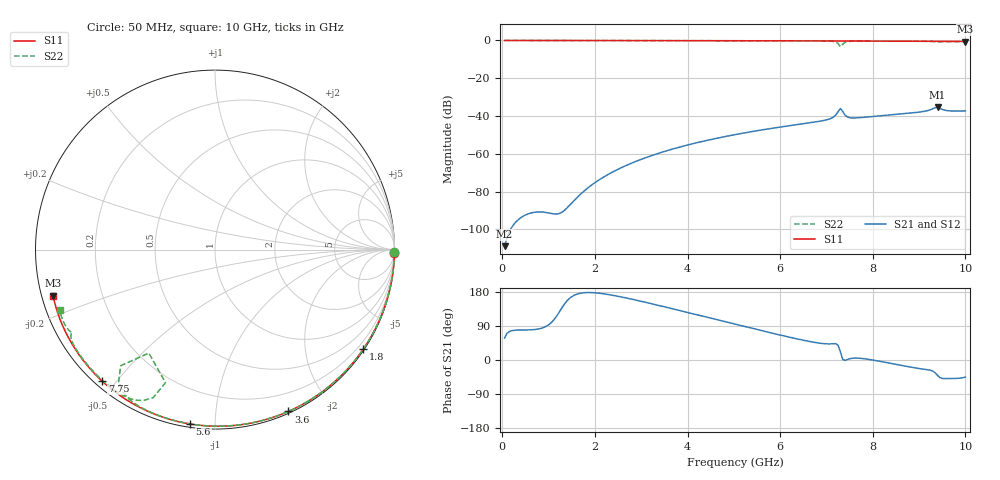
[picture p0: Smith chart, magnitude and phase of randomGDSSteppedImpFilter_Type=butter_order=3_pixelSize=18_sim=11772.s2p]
! freq	dB(S11)	phase(S11)	dB(S12)	phase(S12)
!  dB(S21)	phase(S21)	dB(S22)	phase(S22)
!S-par simulation data
#  GHz  S  DB  R 50
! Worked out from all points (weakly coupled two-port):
!   200 points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, 50 MHz to 10 GHz, reference 50 ohm
!   highest |S21| = -35.45 dB at 9.4 GHz (marker M1); lowest = -108.9 dB at 50 MHz (marker M2)
!   lowest |S11| = -0.6 dB at 10 GHz (marker M3), VSWR 31.47, Z = 1.62 - j6.96 ohm
!   |S11| at or under -10 dB: nowhere
!   |S22| runs from -3.3 to 0.0 dB; largest |S21 - S12| = 0
!   S11 on the Smith chart (normalised r, x): 50 MHz: open; 1.8 GHz: 0.03, -3.30; 3.6 GHz: 0.02, -1.55; 5.6 GHz: 0.02, -0.87; 7.75 GHz: 0.02, -0.46; 10 GHz: 0.03, -0.14
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0.05  -0.00 -1.0  -108.87 58.1  -108.87 58.1  -0.00 -0.9
1.75  -0.04 -32.8  -80.03 177.3  -80.03 177.3  -0.04 -31.6
1.8  -0.04 -33.8  -78.99 177.8  -78.99 177.8  -0.04 -32.5
2.45  -0.06 -45.5  -68.77 169.3  -68.77 169.3  -0.06 -43.8
3.4  -0.08 -62.2  -59.52 143.4  -59.52 143.4  -0.08 -60.0
3.6  -0.09 -65.6  -58.02 137.4  -58.02 137.4  -0.08 -63.3
5.05  -0.14 -89.5  -49.73 93.7  -49.73 93.7  -0.13 -86.6
5.6  -0.16 -98.2  -47.37 77.3  -47.37 77.3  -0.16 -95.2
6.7  -0.22 -115.0  -43.35 47.4  -43.35 47.4  -0.23 -112.6
7.05  -0.25 -120.2  -41.69 42.4  -41.69 42.4  -0.35 -119.8
7.2  -0.26 -122.5  -39.50 42.9  -39.50 42.9  -0.79 -126.0
7.25  -0.26 -123.2  -37.70 39.2  -37.70 39.2  -1.58 -129.1
7.3  -0.27 -123.9  -36.00 21.8  -36.00 21.8  -3.30 -122.6
7.35  -0.27 -124.7  -37.50 2.0  -37.50 2.0  -2.04 -110.4
7.4  -0.27 -125.4  -39.50 -0.9  -39.50 -0.9  -0.97 -112.7
7.5  -0.28 -126.9  -40.87 3.2  -40.87 3.2  -0.48 -117.6
7.75  -0.30 -130.6  -40.80 4.3  -40.80 4.3  -0.34 -123.9
8.35  -0.36 -139.5  -39.46 -8.0  -39.46 -8.0  -0.35 -133.8
9.05  -0.43 -149.8  -37.76 -23.4  -37.76 -23.4  -0.43 -144.7
9.4  -0.47 -155.0  -35.45 -40.8  -35.45 -40.8  -0.74 -149.9
9.6  -0.50 -158.1  -37.12 -49.0  -37.12 -49.0  -0.61 -151.8
10  -0.55 -164.1  -37.23 -45.0  -37.23 -45.0  -0.64 -158.7
